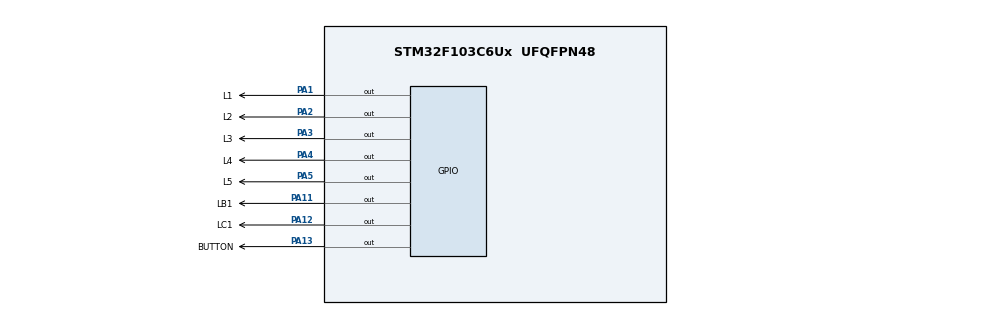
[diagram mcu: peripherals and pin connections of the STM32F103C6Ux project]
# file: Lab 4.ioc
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Mcu.Family=STM32F1
Mcu.Name=STM32F103C6Ux
Mcu.Package=UFQFPN48
NVIC.PriorityGroup=NVIC_PRIORITYGROUP_4
PA1.GPIO_Label=L1
PA1.Signal=GPIO_Output
PA11.GPIO_Label=LB1
PA11.Signal=GPIO_Output
PA12.GPIO_Label=LC1
PA12.Signal=GPIO_Output
PA13.GPIO_Label=BUTTON
PA13.Signal=GPIO_Output
PA2.GPIO_Label=L2
PA2.Signal=GPIO_Output
PA3.GPIO_Label=L3
PA3.Signal=GPIO_Output
PA4.GPIO_Label=L4
PA4.Signal=GPIO_Output
PA5.GPIO_Label=L5
PA5.Signal=GPIO_Output
ProjectManager.HeapSize=0x200
ProjectManager.StackSize=0x400
ProjectManager.TargetToolchain=STM32CubeIDE
RCC.APB1Freq_Value=8000000
RCC.APB2Freq_Value=8000000
TIM2.Period=9
TIM2.Prescaler=7999
VP_SYS_VS_ND.Mode=No_Debug
VP_TIM2_VS_ClockSourceINT.Mode=Internal
board=custom

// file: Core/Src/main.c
/* USER CODE BEGIN Header */
/**
 ******************************************************************************
 * @file           : main.c
 * @brief          : Main program body
 ******************************************************************************
 * @attention
 *
 * <h2><center>&copy; Copyright (c) 2022 STMicroelectronics.
 * All rights reserved.</center></h2>
 *
 * This software component is licensed by ST under BSD 3-Clause license,
 * the "License"; You may not use this file except in compliance with the
 * License. You may obtain a copy of the License at:
 *                        opensource.org/licenses/BSD-3-Clause
 *
 ******************************************************************************
 */
/* USER CODE END Header */
#include "main.h"

/* USER CODE BEGIN Includes */
#include "scheduler.h"
#include "button.h"
#include "task.h"
/* USER CODE END Includes */

TIM_HandleTypeDef htim2;

void SystemClock_Config(void);
static void MX_GPIO_Init(void);
static void MX_TIM2_Init(void);

int main(void)
{

  /* MCU Configuration--------------------------------------------------------*/

  /* Reset of all peripherals, Initializes the Flash interface and the Systick. */
  HAL_Init();

  /* Configure the system clock */
  SystemClock_Config();

  /* Initialize all configured peripherals */
  MX_GPIO_Init();
  MX_TIM2_Init();
  /* USER CODE BEGIN 2 */
	HAL_TIM_Base_Start(&htim2);
	SCH_Init();
//  Normal Task

	SCH_Add_Task(ledToggle_0_5s, 500, 500);
	SCH_Add_Task(ledToggle_1_s, 1000, 1000);
	SCH_Add_Task(ledToggle_1_5s, 1500, 1500);
	SCH_Add_Task(ledToggle_2s, 2000, 2000);
	SCH_Add_Task(ledToggle_2_5s, 2500, 2500);

//  One shot task
	SCH_Add_Task(ledToggle_oneshot, 2000, 0);

// Task with button pressed
	SCH_Add_Task(ledToggle_longpressed, TIME_CYCLE, TIME_CYCLE);

  /* USER CODE END 2 */

  /* Infinite loop */
	while (1) {

    /* USER CODE BEGIN 3 */
		SCH_Dispatch_Tasks();
	}
  /* USER CODE END 3 */
}

void SystemClock_Config(void)
{
  RCC_OscInitTypeDef RCC_OscInitStruct = {0};
  RCC_ClkInitTypeDef RCC_ClkInitStruct = {0};

  /** Initializes the RCC Oscillators according to the specified parameters
  * in the RCC_OscInitTypeDef structure.
  */
  RCC_OscInitStruct.OscillatorType = RCC_OSCILLATORTYPE_HSI;
  RCC_OscInitStruct.HSIState = RCC_HSI_ON;
  RCC_OscInitStruct.HSICalibrationValue = RCC_HSICALIBRATION_DEFAULT;
  RCC_OscInitStruct.PLL.PLLState = RCC_PLL_NONE;
  if (HAL_RCC_OscConfig(&RCC_OscInitStruct) != HAL_OK)
  {
    Error_Handler();
  }
  /** Initializes the CPU, AHB and APB buses clocks
  */
  RCC_ClkInitStruct.ClockType = RCC_CLOCKTYPE_HCLK|RCC_CLOCKTYPE_SYSCLK
                              |RCC_CLOCKTYPE_PCLK1|RCC_CLOCKTYPE_PCLK2;
  RCC_ClkInitStruct.SYSCLKSource = RCC_SYSCLKSOURCE_HSI;
  RCC_ClkInitStruct.AHBCLKDivider = RCC_SYSCLK_DIV1;
  RCC_ClkInitStruct.APB1CLKDivider = RCC_HCLK_DIV1;
  RCC_ClkInitStruct.APB2CLKDivider = RCC_HCLK_DIV1;

  if (HAL_RCC_ClockConfig(&RCC_ClkInitStruct, FLASH_LATENCY_0) != HAL_OK)
  {
    Error_Handler();
  }
}

static void MX_TIM2_Init(void)
{

  TIM_ClockConfigTypeDef sClockSourceConfig = {0};
  TIM_MasterConfigTypeDef sMasterConfig = {0};

  htim2.Instance = TIM2;
  htim2.Init.Prescaler = 7999;
  htim2.Init.CounterMode = TIM_COUNTERMODE_UP;
  htim2.Init.Period = 9;
  htim2.Init.ClockDivision = TIM_CLOCKDIVISION_DIV1;
  htim2.Init.AutoReloadPreload = TIM_AUTORELOAD_PRELOAD_DISABLE;
  if (HAL_TIM_Base_Init(&htim2) != HAL_OK)
  {
    Error_Handler();
  }
  sClockSourceConfig.ClockSource = TIM_CLOCKSOURCE_INTERNAL;
  if (HAL_TIM_ConfigClockSource(&htim2, &sClockSourceConfig) != HAL_OK)
  {
    Error_Handler();
  }
  sMasterConfig.MasterOutputTrigger = TIM_TRGO_RESET;
  sMasterConfig.MasterSlaveMode = TIM_MASTERSLAVEMODE_DISABLE;
  if (HAL_TIMEx_MasterConfigSynchronization(&htim2, &sMasterConfig) != HAL_OK)
  {
    Error_Handler();
  }
  /* USER CODE BEGIN TIM2_Init 2 */
	TIME_CYCLE = 1/(8e6/(htim2.Init.Prescaler + 1)/(htim2.Init.Period + 1)) * 1000; // Time cycle
  /* USER CODE END TIM2_Init 2 */

}

static void MX_GPIO_Init(void)
{
  GPIO_InitTypeDef GPIO_InitStruct = {0};

  /* GPIO Ports Clock Enable */
  __HAL_RCC_GPIOA_CLK_ENABLE();

  /*Configure GPIO pin Output Level */
  HAL_GPIO_WritePin(GPIOA, L1_Pin|L2_Pin|L3_Pin|L4_Pin
                          |L5_Pin|LB1_Pin|LC1_Pin|BUTTON_Pin, GPIO_PIN_RESET);

  /*Configure GPIO pins : L1_Pin L2_Pin L3_Pin L4_Pin
                           L5_Pin LB1_Pin LC1_Pin BUTTON_Pin */
  GPIO_InitStruct.Pin = L1_Pin|L2_Pin|L3_Pin|L4_Pin
                          |L5_Pin|LB1_Pin|LC1_Pin|BUTTON_Pin;
  GPIO_InitStruct.Mode = GPIO_MODE_OUTPUT_PP;
  GPIO_InitStruct.Pull = GPIO_NOPULL;
  GPIO_InitStruct.Speed = GPIO_SPEED_FREQ_LOW;
  HAL_GPIO_Init(GPIOA, &GPIO_InitStruct);

}

/* USER CODE BEGIN 4 */
void HAL_TIM_PeriodElapsedCallback(TIM_HandleTypeDef* htim){
	SCH_Update();
	getKeyInput();
}
/* USER CODE END 4 */

void Error_Handler(void)
{
	__disable_irq();
	while (1) {
	}
}

/************************ (C) COPYRIGHT STMicroelectronics *****END OF FILE****/
